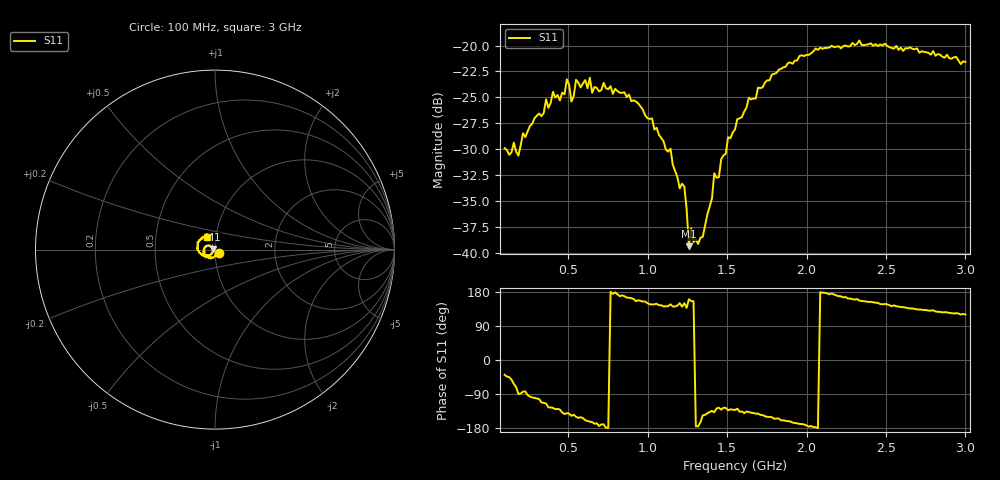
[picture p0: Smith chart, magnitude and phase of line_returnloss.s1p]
! 1-port S-parameter data taken at 201 frequency points
! Created by R&S SxP Library version 0.2.0 at 07-05-2024 09:23:32
# Hz S RI R 50
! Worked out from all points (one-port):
!   201 points, 100 MHz to 3 GHz, reference 50 ohm
!   lowest |S11| = -39.4 dB at 1.26 GHz (marker M1), VSWR 1.02, Z = 49 + j0.357 ohm
!   |S11| at or under -10 dB: start of sweep to end of sweep
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1e8  0.0248 -0.0201
1.87e8  0.00011 -0.0294
2.16e8  0.00436 -0.0375
3.61e8  -0.023 -0.05
4.625e8  -0.0444 -0.0394
4.915e8  -0.0529 -0.0439
5.205e8  -0.0453 -0.0289
5.495e8  -0.0592 -0.0342
6.365e8  -0.0668 -0.0208
6.51e8  -0.0568 -0.0163
8.25e8  -0.058 0.0119
1.028e9  -0.0372 0.0246
1.144e9  -0.0266 0.0173
1.1875e9  -0.0186 0.0138
1.231e9  -0.018 0.0105
1.26e9  -0.0101 0.00364
1.2745e9  -0.0119 0.00546
1.347e9  -0.00988 -0.00666
1.405e9  -0.0128 -0.013
1.4195e9  -0.0179 -0.0163
1.4485e9  -0.0136 -0.0187
1.5065e9  -0.0244 -0.0266
1.55e9  -0.0263 -0.0293
1.637e9  -0.0411 -0.0381
1.9125e9  -0.079 -0.021
2.275e9  -0.0947 0.0301
2.6375e9  -0.0707 0.0663
3e9  -0.0419 0.0721
